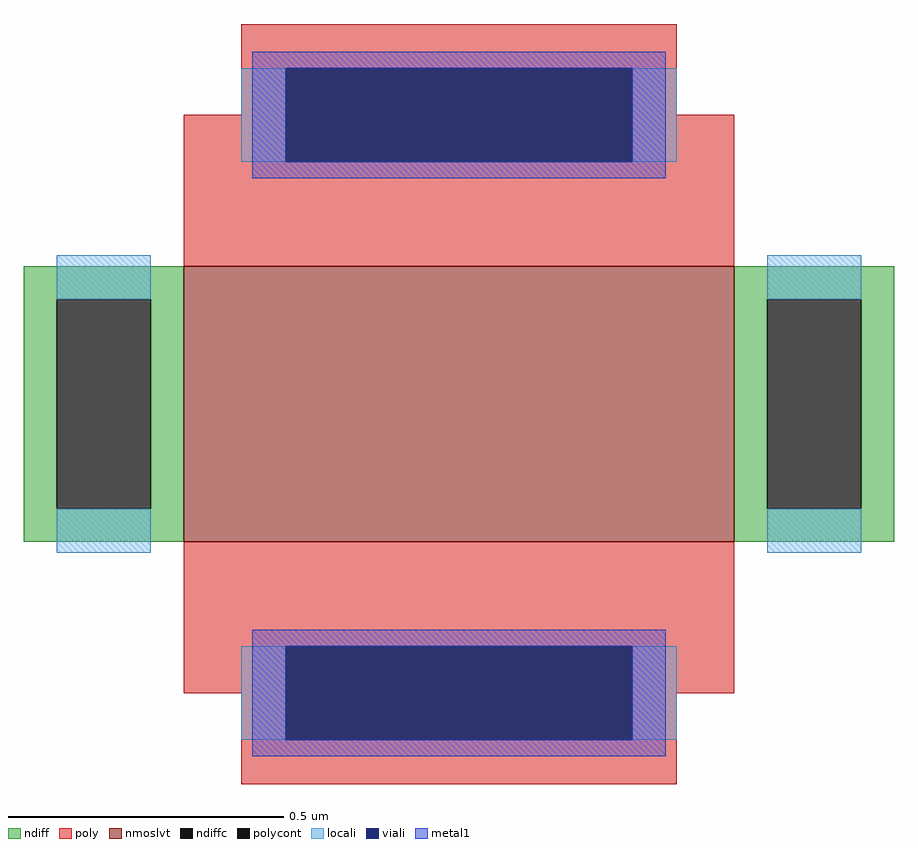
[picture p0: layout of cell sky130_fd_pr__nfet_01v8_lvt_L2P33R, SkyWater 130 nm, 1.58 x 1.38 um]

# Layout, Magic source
magic
tech sky130A
magscale 1 2
<< nmoslvt >>
rect -100 -50 100 50
<< ndiff >>
rect -158 38 -100 50
rect -158 -38 -146 38
rect -112 -38 -100 38
rect -158 -50 -100 -38
rect 100 38 158 50
rect 100 -38 112 38
rect 146 -38 158 38
rect 100 -50 158 -38
<< ndiffc >>
rect -146 -38 -112 38
rect 112 -38 146 38
<< poly >>
rect -79 122 79 138
rect -79 105 -63 122
rect -100 88 -63 105
rect 63 105 79 122
rect 63 88 100 105
rect -100 50 100 88
rect -100 -88 100 -50
rect -100 -105 -63 -88
rect -79 -122 -63 -105
rect 63 -105 100 -88
rect 63 -122 79 -105
rect -79 -138 79 -122
<< polycont >>
rect -63 88 63 122
rect -63 -122 63 -88
<< locali >>
rect -79 88 -63 122
rect 63 88 79 122
rect -146 38 -112 54
rect -146 -54 -112 -38
rect 112 38 146 54
rect 112 -54 146 -38
rect -79 -122 -63 -88
rect 63 -122 79 -88
<< viali >>
rect -63 88 63 122
rect -63 -122 63 -88
<< metal1 >>
rect -75 122 75 128
rect -75 88 -63 122
rect 63 88 75 122
rect -75 82 75 88
rect -75 -88 75 -82
rect -75 -122 -63 -88
rect 63 -122 75 -88
rect -75 -128 75 -122
<< properties >>
string gencell sky130_fd_pr__nfet_01v8_lvt
string library sky130
string parameters w 0.5 l 1.0 m 1 nf 1 diffcov 100 polycov 75 guard 0 glc 1 grc 1 gtc 1 gbc 1 tbcov 100 rlcov 100 topc 1 botc 1 poverlap 0 doverlap 1 lmin 0.15 wmin 0.42 class mosfet compatible {sky130_fd_pr__nfet_01v8 sky130_fd_pr__nfet_01v8_lvt  sky130_fd_bs_flash__special_sonosfet_star  sky130_fd_pr__nfet_g5v0d10v5 sky130_fd_pr__nfet_05v0_nvt  sky130_fd_pr__nfet_03v3_nvt} full_metal 1 viasrc 0 viadrn 0 viagate 75 viagb 0 viagr 0 viagl 0 viagt 0
<< end >>
